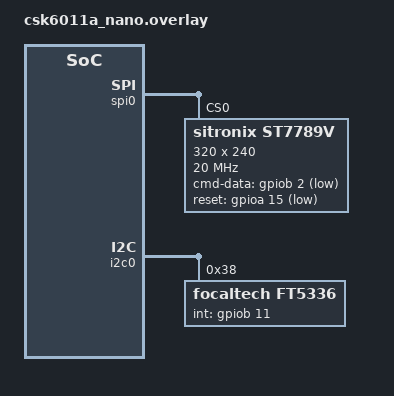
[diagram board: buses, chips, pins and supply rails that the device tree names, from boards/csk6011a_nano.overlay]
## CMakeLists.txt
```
# SPDX-License-Identifier: Apache-2.0

cmake_minimum_required(VERSION 3.20.0)

set(SUPPORT_BOARDS csk6_duomotai_devkit)
if(NOT ${BOARD} IN_LIST SUPPORT_BOARDS)
    message("Please choose one of the following boards:")
    foreach(item ${SUPPORT_BOARDS})
        message(STATUS ${item})
    endforeach()
    message(FATAL_ERROR "\nThe project does not support the ${BOARD}")
endif()

find_package(Zephyr REQUIRED HINTS $ENV{ZEPHYR_BASE})
project(lvgl)

FILE(GLOB app_sources src/*.c)
target_sources(app PRIVATE ${app_sources})
```

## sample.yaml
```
sample:
  description: LVGL sample application
  name: lvgl
tests:
  sample.display.lvgl.gui.SimpleShow:
    build_only: true
    platform_allow: csk6_duomotai_devkit
```

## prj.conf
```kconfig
CONFIG_HEAP_MEM_POOL_SIZE=16384
CONFIG_MAIN_STACK_SIZE=2048

CONFIG_DISPLAY=y
CONFIG_DISPLAY_LOG_LEVEL_ERR=y

CONFIG_LOG=y
# CONFIG_LOG_STRDUP_BUF_COUNT=16

CONFIG_LVGL=y

CONFIG_GPIO=y
CONFIG_SPI=y
CONFIG_ST7789V=y

CONFIG_I2C=y

CONFIG_LV_COLOR_16_SWAP=n

CONFIG_LV_Z_MEM_POOL_SIZE=102400

CONFIG_INPUT=y
CONFIG_INPUT_FT5336=y
CONFIG_INPUT_FT5336_INTERRUPT=y
CONFIG_LOG_MODE_IMMEDIATE=y
```

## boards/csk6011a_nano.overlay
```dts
/*
 * Copyright (c) 2023 Anhui(Shenzhen) Listenai Co., Ltd.
 *
 * SPDX-License-Identifier: Apache-2.0
 */
&pinctrl {

	pinctrl_i2c0_scl_default: i2c0_scl_default{
		pinctrls = <I2C0_SCL_GPIOB_04>;
	};

	pinctrl_i2c0_sda_default: i2c0_sda_default{
		pinctrls = <I2C0_SDA_GPIOB_03>;
	};

	pinctrl_spi0_sclk_default: spi0_sclk_default {
		pinctrls = <&pinmuxb 1 6>;
	};
	pinctrl_spi0_mosi_default: spi0_mosi_default {
		pinctrls = <&pinmuxb 10 6>;
	};
	pinctrl_spi0_miso_default: spi0_miso_default {
		pinctrls = <&pinmuxa 17 6>;
	};
	pinctrl_spi0_cs_default: spi0_cs_default {
		pinctrls = <&pinmuxb 0 6>;
	};

};

&spi0 {
	status = "okay";
	pinctrl-0 = <&pinctrl_spi0_sclk_default &pinctrl_spi0_mosi_default &pinctrl_spi0_miso_default &pinctrl_spi0_cs_default>;
	pinctrl-names = "default";

	st7789v:st7789v@0 {
		compatible = "sitronix,st7789v";
		status = "okay";
		spi-max-frequency = <20000000>;
		reg = <0>;
		cmd-data-gpios = <&gpiob 2 1>;
		reset-gpios = <&gpioa 15 1>;
		width = <320>;
		height = <240>;
		x-offset = <0>;
		y-offset = <0>;
		// reg: 0xBB
		vcom = <0x1e>;
		// reg: 0xB7
		gctrl = <0x35>;
		// reg: 0xC3
		vrhs = <0x0b>;
		// reg: 0xC4
		vdvs = <0x20>;
		// reg: 0x36
		mdac = <0xA3>;
		// reg: 0x26
		gamma = <0x01>;
		// reg: 0x3a
		colmod = <0x05>;
		// reg: 0xc0
		lcm = <0x3c>;
		// reg: 0xb2
		porch-param = [ 0c 0c 00 33 33  ];
		// reg: 0xDF
		cmd2en-param = [ 5a 69 02 01  ];
		// reg: 0xD0
		pwctrl1-param = [ a4 a1  ];
		// reg: 0xE0
		pvgam-param = [ d0 06 0b 07 07 24 2e 32 46 37 13 13 2d 33  ];
		// reg: 0xE1
		nvgam-param = [ d0 02 06 09 08 05 29 44 42 38 14 14 2a 30  ];
		// reg: b0
		ram-param = [ 00 F0  ];
		// reg: b1
		rgb-param = [ CD 08 14  ];
	};
};

&i2c0 {
	status = "okay";
	pinctrl-0 = <&pinctrl_i2c0_scl_default &pinctrl_i2c0_sda_default>;
	pinctrl-names = "default";
	ft5336:ft5336@38 {
		compatible = "focaltech,ft5336";
		reg = <0x38>;
		status = "okay";
		int-gpios = <&gpiob 11 0>;
	};
};

/ {
	chosen {
		zephyr,display=&st7789v;
		zephyr,keyboard-scan=&ft5336;
	};
};
```

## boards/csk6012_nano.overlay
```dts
/*
 * Copyright (c) 2023 Anhui(Shenzhen) Listenai Co., Ltd.
 *
 * SPDX-License-Identifier: Apache-2.0
 */
&pinctrl {

	pinctrl_i2c0_scl_default: i2c0_scl_default{
		pinctrls = <I2C0_SCL_GPIOB_04>;
	};

	pinctrl_i2c0_sda_default: i2c0_sda_default{
		pinctrls = <I2C0_SDA_GPIOB_03>;
	};

	pinctrl_spi0_sclk_default: spi0_sclk_default {
		pinctrls = <&pinmuxb 1 6>;
	};
	pinctrl_spi0_mosi_default: spi0_mosi_default {
		pinctrls = <&pinmuxb 10 6>;
	};
	pinctrl_spi0_miso_default: spi0_miso_default {
		pinctrls = <&pinmuxa 17 6>;
	};
	pinctrl_spi0_cs_default: spi0_cs_default {
		pinctrls = <&pinmuxb 0 6>;
	};

};

&spi0 {
	status = "okay";
	pinctrl-0 = <&pinctrl_spi0_sclk_default &pinctrl_spi0_mosi_default &pinctrl_spi0_miso_default &pinctrl_spi0_cs_default>;
	pinctrl-names = "default";

	st7789v:st7789v@0 {
		compatible = "sitronix,st7789v";
		status = "okay";
		spi-max-frequency = <20000000>;
		reg = <0>;
		cmd-data-gpios = <&gpiob 2 1>;
		reset-gpios = <&gpioa 15 1>;
		width = <320>;
		height = <240>;
		x-offset = <0>;
		y-offset = <0>;
		// reg: 0xBB
		vcom = <0x1e>;
		// reg: 0xB7
		gctrl = <0x35>;
		// reg: 0xC3
		vrhs = <0x0b>;
		// reg: 0xC4
		vdvs = <0x20>;
		// reg: 0x36
		mdac = <0xA3>;
		// reg: 0x26
		gamma = <0x01>;
		// reg: 0x3a
		colmod = <0x05>;
		// reg: 0xc0
		lcm = <0x3c>;
		// reg: 0xb2
		porch-param = [ 0c 0c 00 33 33  ];
		// reg: 0xDF
		cmd2en-param = [ 5a 69 02 01  ];
		// reg: 0xD0
		pwctrl1-param = [ a4 a1  ];
		// reg: 0xE0
		pvgam-param = [ d0 06 0b 07 07 24 2e 32 46 37 13 13 2d 33  ];
		// reg: 0xE1
		nvgam-param = [ d0 02 06 09 08 05 29 44 42 38 14 14 2a 30  ];
		// reg: b0
		ram-param = [ 00 F0  ];
		// reg: b1
		rgb-param = [ CD 08 14  ];
	};
};

&i2c0 {
	status = "okay";
	pinctrl-0 = <&pinctrl_i2c0_scl_default &pinctrl_i2c0_sda_default>;
	pinctrl-names = "default";
	ft5336:ft5336@0 {
		compatible = "focaltech,ft5336";
		reg = <56>;
		status = "okay";
		int-gpios = <&gpiob 11 0>;
	};
};

/ {
	chosen {
		zephyr,display=&st7789v;
		zephyr,keyboard_scan=&ft5336;
	};
};
```

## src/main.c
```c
/*
 * Copyright (c) 2023 Anhui(Shenzhen) Listenai Co., Ltd.
 *
 * SPDX-License-Identifier: Apache-2.0
 */
#include <stdio.h>
#include <string.h>

#include <zephyr/device.h>
#include <zephyr/drivers/display.h>
#include <zephyr/kernel.h>

#include <lvgl.h>

#define LOG_LEVEL CONFIG_LOG_DEFAULT_LEVEL
#include <zephyr/logging/log.h>
LOG_MODULE_REGISTER(app);

int main(void)
{
	uint32_t count = 0U;
	char count_str[11] = {0};
	const struct device *display_dev;
	lv_obj_t *hello_world_label;
	lv_obj_t *count_label;

	display_dev = DEVICE_DT_GET(DT_CHOSEN(zephyr_display));
	if (!device_is_ready(display_dev)) {
		LOG_ERR("Device not ready, aborting test");
		return -1;
	}

	if (IS_ENABLED(CONFIG_LV_Z_POINTER_INPUT)) {
		lv_obj_t *hello_world_button;

		hello_world_button = lv_btn_create(lv_scr_act());
		lv_obj_align(hello_world_button, LV_ALIGN_CENTER, 0, 0);
		hello_world_label = lv_label_create(hello_world_button);
	} else {
		hello_world_label = lv_label_create(lv_scr_act());
	}

	lv_label_set_text(hello_world_label, "Hello world!");
	lv_obj_align(hello_world_label, LV_ALIGN_CENTER, 0, 0);

	count_label = lv_label_create(lv_scr_act());
	lv_obj_align(count_label, LV_ALIGN_BOTTOM_MID, 0, 0);

	lv_task_handler();
	display_blanking_off(display_dev);

	while (1) {
		if ((count % 100) == 0U) {
			sprintf(count_str, "%d", count / 100U);
			lv_label_set_text(count_label, count_str);
		}
		lv_task_handler();
		k_sleep(K_MSEC(10));
		++count;
	}
	return 0;
}
```
